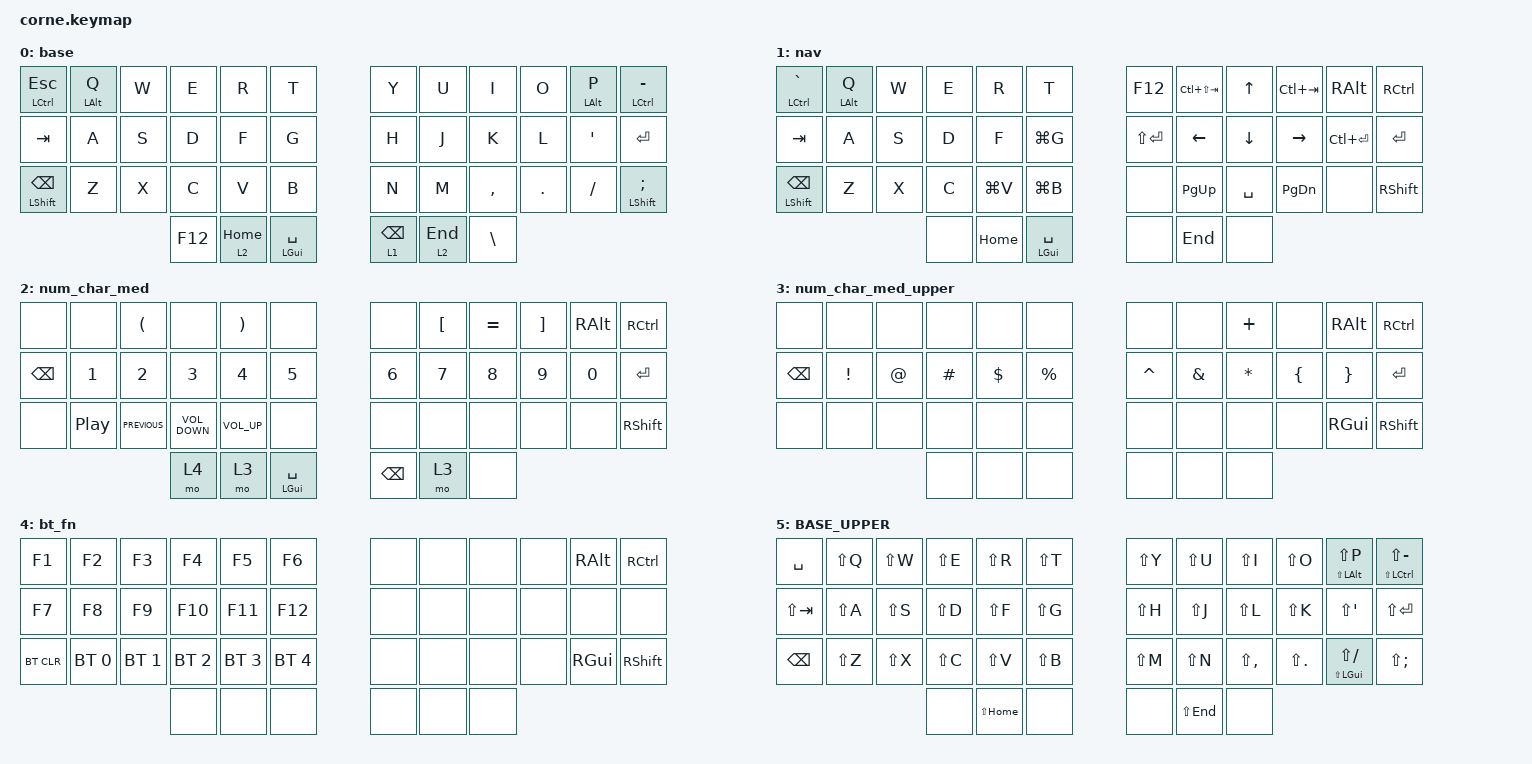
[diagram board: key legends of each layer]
/*
 * Copyright (c) 2020 The ZMK Contributors
 *
 * SPDX-License-Identifier: MIT
 */

#include <behaviors.dtsi>
#include <dt-bindings/zmk/bt.h>
#include <dt-bindings/zmk/keys.h>

&mt {
    tapping-term-ms = <200>;
    flavor = "tap-preferred";
};

&lt {
    tapping-term-ms = <200>;
    flavor = "tap-preferred";
};

/ {
    behaviors {
        lt_150: lt_150 {
            compatible = "zmk,behavior-hold-tap";
            label = "LT_150";
            bindings = <&mo>, <&kp>;

            #binding-cells = <2>;
            tapping-term-ms = <150>;
            flavor = "tap-preferred";
        };

        mt_400: mt_400 {
            compatible = "zmk,behavior-hold-tap";
            label = "MT_400";
            bindings = <&kp>, <&kp>;

            #binding-cells = <2>;
            tapping-term-ms = <400>;
            flavor = "tap-preferred";
        };
    };

    keymap {
        compatible = "zmk,keymap";

        base {
            // -----------------------------------------------------------------------------------------
            // |  TAB |  Q  |  W  |  E  |  R  |  T  |   |  Y  |  U   |  I  |  O  |  P  | BKSP |
            // | CTRL |  A  |  S  |  D  |  F  |  G  |   |  H  |  J   |  K  |  L  |  ;  |  '   |
            // | SHFT |  Z  |  X  |  C  |  V  |  B  |   |  N  |  M   |  ,  |  .  |  /  | ESC  |
            //                    | GUI | LWR | SPC |   | ENT | RSE  | ALT |

            bindings = <
&mt_400 LEFT_CONTROL ESCAPE  &mt_400 LEFT_ALT Q  &kp W  &kp E    &kp R           &kp T                 &kp Y            &kp U          &kp I          &kp O    &mt_400 LEFT_ALT P  &mt_400 LEFT_CONTROL MINUS
&kp TAB                      &kp A               &kp S  &kp D    &kp F           &kp G                 &kp H            &kp J          &kp K          &kp L    &kp SQT             &kp ENTER
&mt LEFT_SHIFT BACKSPACE     &kp Z               &kp X  &kp C    &kp V           &kp B                 &kp N            &kp M          &kp COMMA      &kp DOT  &kp SLASH           &mt LEFT_SHIFT SEMI
                                                        &kp F12  &lt_150 2 HOME  &mt LEFT_GUI SPACE    &lt 1 BACKSPACE  &lt_150 2 END  &kp BACKSLASH
            >;
        };

        nav {
            // -----------------------------------------------------------------------------------------
            // |  TAB |  1  |  2  |  3  |  4  |  5  |   |  6  |  7  |  8  |  9  |  0  | BKSP |
            // | BTCLR| BT1 | BT2 | BT3 | BT4 | BT5 |   | LFT | DWN |  UP | RGT |     |      |
            // | SHFT |     |     |     |     |     |   |     |     |     |     |     |      |
            //                    | GUI |     | SPC |   | ENT |     | ALT |

            bindings = <
&mt_400 LEFT_CONTROL GRAVE  &mt_400 LEFT_ALT Q  &kp W  &kp E  &kp R      &kp T                 &kp F12        &kp LC(LS(TAB))  &kp UP_ARROW    &kp LC(TAB)      &kp RIGHT_ALT  &kp RIGHT_CONTROL
&kp TAB                     &kp A               &kp S  &kp D  &kp F      &kp LG(G)             &kp LS(ENTER)  &kp LEFT_ARROW   &kp DOWN_ARROW  &kp RIGHT_ARROW  &kp LC(ENTER)  &kp ENTER
&mt LEFT_SHIFT BACKSPACE    &kp Z               &kp X  &kp C  &kp LG(V)  &kp LG(B)             &none          &kp PAGE_UP      &kp SPACE       &kp PAGE_DOWN    &none          &kp RIGHT_SHIFT
                                                       &none  &kp HOME   &mt LEFT_GUI SPACE    &none          &kp END          &none
            >;
        };

        num_char_med {
            bindings = <
&none          &none             &kp LEFT_PARENTHESIS  &none              &kp RIGHT_PARENTHESIS  &none                 &none          &kp LEFT_BRACKET  &kp EQUAL  &kp RIGHT_BRACKET  &kp RIGHT_ALT  &kp RIGHT_CONTROL
&kp BACKSPACE  &kp N1            &kp N2                &kp N3             &kp N4                 &kp N5                &kp N6         &kp N7            &kp N8     &kp N9             &kp N0         &kp ENTER
&none          &kp C_PLAY_PAUSE  &kp C_PREVIOUS        &kp C_VOLUME_DOWN  &kp C_VOLUME_UP        &none                 &none          &none             &none      &none              &none          &kp RIGHT_SHIFT
                                                       &mo 4              &mo 3                  &mt LEFT_GUI SPACE    &kp BACKSPACE  &mo 3             &none
            >;
        };

        num_char_med_upper {
            bindings = <
&none          &none            &none        &none      &none       &none          &none      &none          &kp PLUS      &none           &kp RIGHT_ALT    &kp RIGHT_CONTROL
&kp BACKSPACE  &kp EXCLAMATION  &kp AT_SIGN  &kp POUND  &kp DOLLAR  &kp PERCENT    &kp CARET  &kp AMPERSAND  &kp ASTERISK  &kp LEFT_BRACE  &kp RIGHT_BRACE  &kp ENTER
&none          &none            &none        &none      &none       &none          &none      &none          &none         &none           &kp RIGHT_GUI    &kp RIGHT_SHIFT
                                             &none      &none       &none          &none      &none          &none
            >;
        };

        bt_fn {
            bindings = <
&kp F1      &kp F2        &kp F3        &kp F4        &kp F5        &kp F6          &none  &none  &none  &none  &kp RIGHT_ALT  &kp RIGHT_CONTROL
&kp F7      &kp F8        &kp F9        &kp F10       &kp F11       &kp F12         &none  &none  &none  &none  &none          &none
&bt BT_CLR  &bt BT_SEL 0  &bt BT_SEL 1  &bt BT_SEL 2  &bt BT_SEL 3  &bt BT_SEL 4    &none  &none  &none  &none  &kp RIGHT_GUI  &kp RIGHT_SHIFT
                                        &none         &none         &none           &none  &none  &none
            >;
        };

        BASE_UPPER {
            bindings = <
&kp SPACE      &kp LS(Q)  &kp LS(W)  &kp LS(E)  &kp LS(R)     &kp LS(T)    &kp LS(Y)  &kp LS(U)    &kp LS(I)      &kp LS(O)    &mt_400 LS(LEFT_ALT) LS(P)      &mt_400 LS(LEFT_CONTROL) LS(MINUS)
&kp LS(TAB)    &kp LS(A)  &kp LS(S)  &kp LS(D)  &kp LS(F)     &kp LS(G)    &kp LS(H)  &kp LS(J)    &kp LS(L)      &kp LS(K)    &kp LS(SINGLE_QUOTE)            &kp LS(ENTER)
&kp BACKSPACE  &kp LS(Z)  &kp LS(X)  &kp LS(C)  &kp LS(V)     &kp LS(B)    &kp LS(M)  &kp LS(N)    &kp LS(COMMA)  &kp LS(DOT)  &mt_400 LS(LEFT_GUI) LS(SLASH)  &kp LS(SEMI)
                                     &none      &kp LS(HOME)  &none        &none      &kp LS(END)  &none
            >;
        };
    };
};
